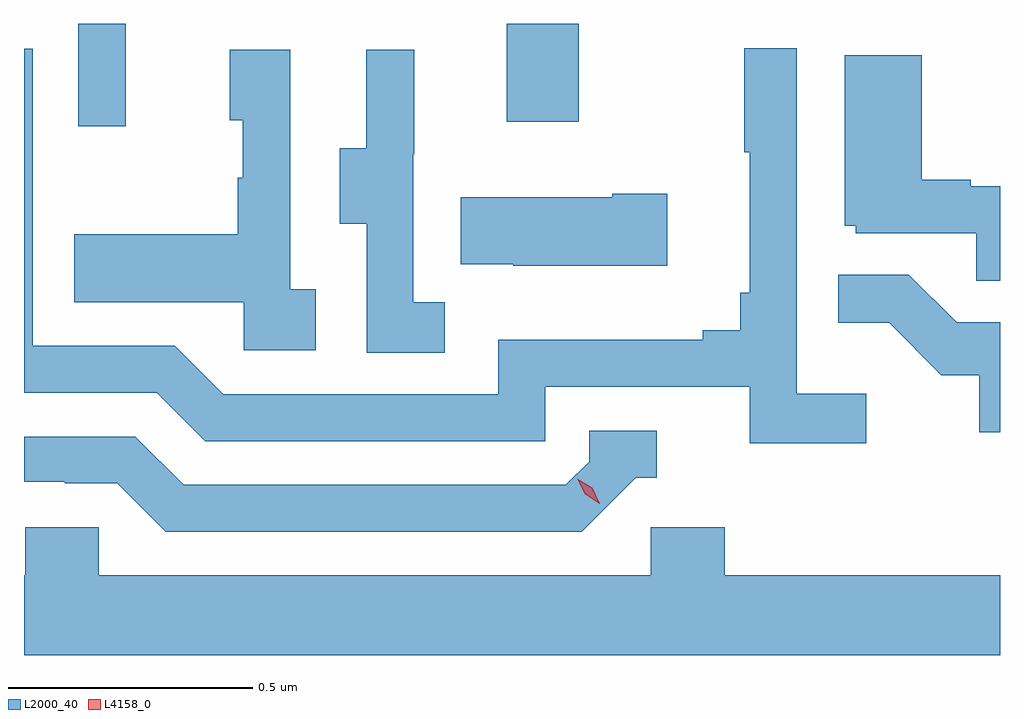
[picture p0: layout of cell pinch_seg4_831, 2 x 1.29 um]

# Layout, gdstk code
import gdstk
lib = gdstk.Library(unit=1e-6, precision=1e-09)
def R(c, l, rs):  # rectangles x0, y0, x1, y1
    for r in rs: c.add(gdstk.rectangle(r[:2], r[2:], *l))
def P(c, l, *ps):  # polygons
    for p in ps: c.add(gdstk.Polygon(p, *l))
L2000_40 = (2000, 40)
L4158_0 = (4158, 0)

pinch_seg4_831 = lib.new_cell('pinch_seg4_831')
R(pinch_seg4_831, L2000_40, [(794.253,792.576,794.351,792.786), (795.131,792.585,795.279,792.786)])
P(pinch_seg4_831, L2000_40, [(795.868,792.028),(795.726,792.028),(795.726,792.736),(795.618,792.736),(795.618,792.523),(795.629,792.523),(795.629,792.235),(795.61,792.235),(795.61,792.158),(795.533,792.158),(795.533,792.139),(795.114,792.139),(795.114,792.027),(794.55,792.027),(794.451,792.126),(794.16,792.126),(794.16,792.735),(794.142,792.735),(794.142,792.03),(794.414,792.03),(794.513,791.931),(795.21,791.931),(795.21,792.042),(795.629,792.042),(795.629,791.926),(795.868,791.926)],
  [(795.004,792.215),(794.94,792.215),(794.94,792.519),(794.942,792.519),(794.942,792.733),(794.843,792.733),(794.843,792.531),(794.789,792.531),(794.789,792.376),(794.844,792.376),(794.844,792.112),(795.004,792.112)],
  [(794.74,792.242),(794.688,792.242),(794.688,792.733),(794.564,792.733),(794.564,792.588),(794.59,792.588),(794.59,792.47),(794.58,792.47),(794.58,792.355),(794.245,792.355),(794.245,792.215),(794.592,792.215),(794.592,792.117),(794.74,792.117)],
  [(796.142,792.453),(796.082,792.453),(796.082,792.466),(795.982,792.466),(795.982,792.721),(795.824,792.721),(795.824,792.372),(795.846,792.372),(795.846,792.357),(796.093,792.357),(796.093,792.259),(796.142,792.259)],
  [(795.46,792.438),(795.347,792.438),(795.347,792.43),(795.037,792.43),(795.037,792.293),(795.145,792.293),(795.145,792.29),(795.46,792.29)],
  [(796.142,792.174),(796.053,792.174),(795.955,792.272),(795.811,792.272),(795.811,792.173),(795.915,792.173),(796.022,792.066),(796.099,792.066),(796.099,791.949),(796.142,791.949)],
  [(795.396,791.856),(795.439,791.856),(795.439,791.952),(795.3,791.952),(795.3,791.889),(795.252,791.841),(794.469,791.841),(794.37,791.94),(794.142,791.94),(794.142,791.847),(794.226,791.847),(794.226,791.844),(794.333,791.844),(794.432,791.745),(795.285,791.745)],
  [(796.142,791.656),(795.578,791.656),(795.578,791.754),(795.426,791.754),(795.426,791.656),(794.295,791.656),(794.295,791.754),(794.145,791.754),(794.145,791.656),(794.142,791.656),(794.142,791.492),(796.142,791.492)])
P(pinch_seg4_831, L4158_0, [(795.322,791.802),(795.292,791.822),(795.276,791.854),(795.276,791.854),(795.276,791.854),(795.306,791.835),(795.322,791.802),(795.322,791.802)])

lib.write_gds('pinch_seg4_831.gds')
